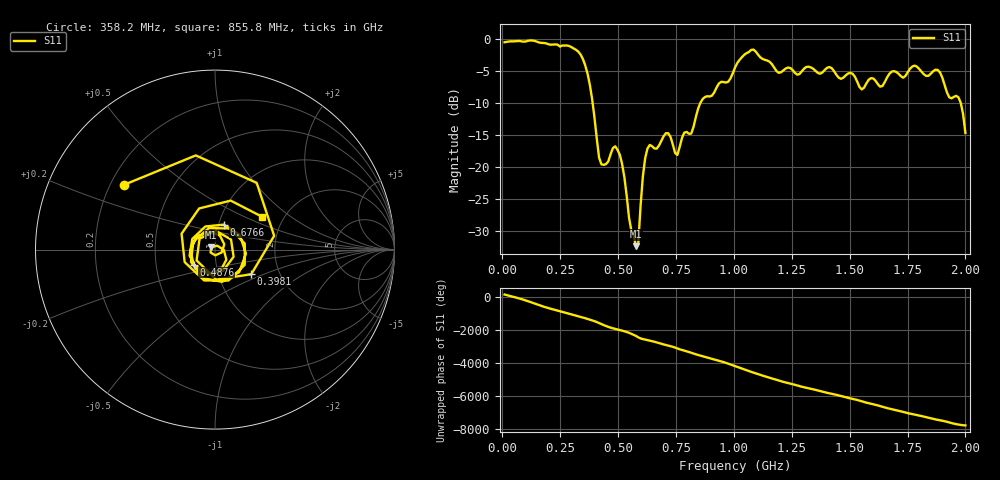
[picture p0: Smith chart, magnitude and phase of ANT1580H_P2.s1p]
!Created with skrf (http://scikit-rf.org).
# Hz S RI R 50.0
!freq ReS11 ImS11
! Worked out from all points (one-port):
!   201 points, 10 MHz to 2 GHz, reference 50 ohm
!   lowest |S11| = -32.3 dB at 577.1 MHz (marker M1), VSWR 1.05, Z = 47.9 + j1.15 ohm
!   |S11| at or under -10 dB: 390.2 MHz to 855.1 MHz (464.9 MHz wide, 74.7 % of centre); 1.98 GHz to end of sweep
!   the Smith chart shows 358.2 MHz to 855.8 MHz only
!   S11 on the Smith chart (normalised r, x): 358.2 MHz: 0.26, +0.30; 398.1 MHz: 1.43, -0.42; 487.6 MHz: 0.78, -0.13; 676.6 MHz: 1.06, +0.30; 855.8 MHz: 1.54, +0.63
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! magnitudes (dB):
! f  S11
! 10 MHz  -0.5
! 258.8 MHz  -1.0
! 358.2 MHz  -4.1
! 398.1 MHz  -12.2
! 427.9 MHz  -19.6
! 487.6 MHz  -16.7
! 507.5 MHz  -18.1
! 547.3 MHz  -27.9
! 577.1 MHz  -32.3
! 587.1 MHz  -32.0
! 607 MHz  -21.5
! 617 MHz  -18.6
! 676.6 MHz  -16.6
! 716.5 MHz  -14.7
! 756.2 MHz  -18.1
! 816 MHz  -14.8
! 855.8 MHz  -9.9
! 1.005 GHz  -4.5
! 1.085 GHz  -1.7
! 1.194 GHz  -5.3
! 1.254 GHz  -4.8
! 1.502 GHz  -5.3
! 1.552 GHz  -7.9
! 1.751 GHz  -5.2
! 1.881 GHz  -4.8
! 1.93 GHz  -9.1
! 1.97 GHz  -9.1
! 2 GHz  -14.7
